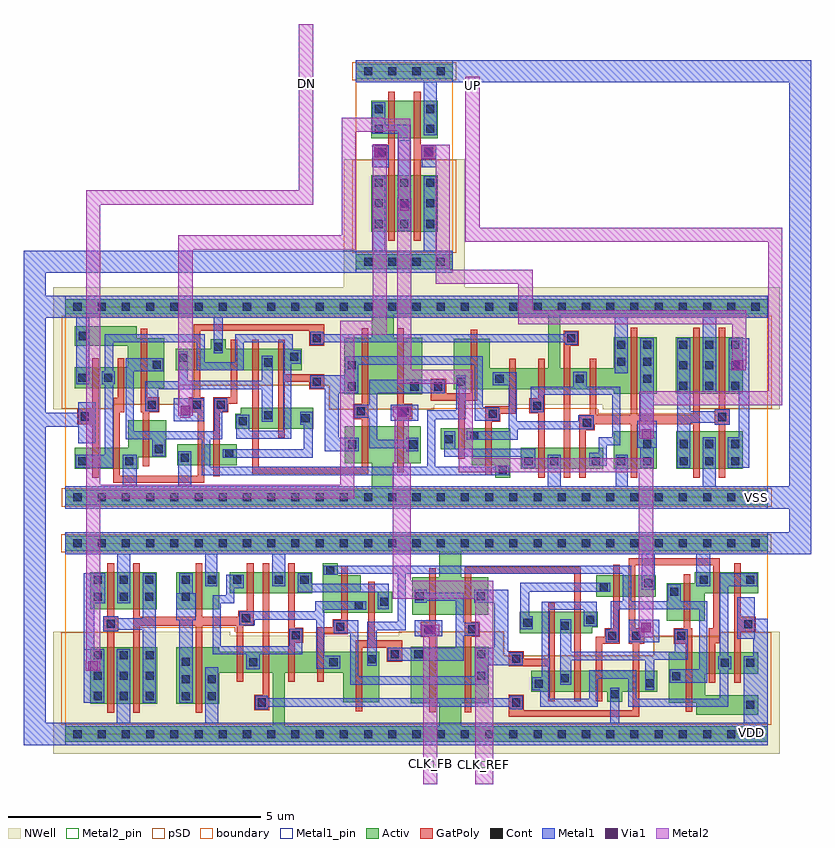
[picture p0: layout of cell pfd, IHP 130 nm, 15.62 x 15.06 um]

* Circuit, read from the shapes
.subckt pfd CLK_FB CLK_REF DN UP VDD VSS
XM1 n1 VDD n2 VSS sg13_lv_nmos w=0.42u l=0.13u
XM2 VSS n3 DN VSS sg13_lv_nmos w=0.74u l=0.13u
XM3 VSS sg13cmos5l_dfrbp_1_10/RESET_B n1 VSS sg13_lv_nmos w=0.42u l=0.13u
XM4 n3 n4 VSS VSS sg13_lv_nmos w=0.74u l=0.13u
XM5 n5 n6 VSS VSS sg13_lv_nmos w=0.74u l=0.13u
XM6 VSS n4 sg13cmos5l_dfrbp_1_12/Q_N VSS sg13_lv_nmos w=0.74u l=0.13u
XM7 n7 sg13cmos5l_dfrbp_1_10/RESET_B VSS VSS sg13_lv_nmos w=0.42u l=0.13u
XM8 n8 n5 n7 VSS sg13_lv_nmos w=0.42u l=0.13u
XM9 n9 n4 n10 VSS sg13_lv_nmos w=0.42u l=0.13u
XM10 n6 n11 n2 VSS sg13_lv_nmos w=0.42u l=0.13u
XM11 VSS sg13cmos5l_dfrbp_1_10/RESET_B n9 VSS sg13_lv_nmos w=0.42u l=0.13u
XM12 n8 n12 n6 VSS sg13_lv_nmos w=0.42u l=0.13u
XM13 n13 n10 VSS VSS sg13_lv_nmos w=0.42u l=0.13u
XM14 n4 n14 n15 VSS sg13_lv_nmos w=0.74u l=0.13u
XM15 VSS n11 n12 VSS sg13_lv_nmos w=0.74u l=0.13u
XM16 n13 n16 n4 VSS sg13_lv_nmos w=0.42u l=0.13u
XM17 n17 DN sg13cmos5l_dfrbp_1_10/RESET_B VSS sg13_lv_nmos w=0.74u l=0.13u
XM18 n11 CLK_REF VSS VSS sg13_lv_nmos w=0.74u l=0.13u
XM19 VSS sg13cmos5l_nand2_1_11/B n17 VSS sg13_lv_nmos w=0.74u l=0.13u
XM20 VSS CLK_FB n16 VSS sg13_lv_nmos w=0.74u l=0.13u
XM21 n18 n11 n19 VSS sg13_lv_nmos w=0.42u l=0.13u
XM22 n14 n16 VSS VSS sg13_lv_nmos w=0.74u l=0.13u
XM23 n5 n12 n18 VSS sg13_lv_nmos w=0.74u l=0.13u
XM24 VSS n20 n19 VSS sg13_lv_nmos w=0.42u l=0.13u
XM25 n21 n14 n22 VSS sg13_lv_nmos w=0.42u l=0.13u
XM26 n23 sg13cmos5l_dfrbp_1_10/RESET_B VSS VSS sg13_lv_nmos w=0.42u l=0.13u
XM27 n24 n16 n21 VSS sg13_lv_nmos w=0.42u l=0.13u
XM28 n20 n18 n23 VSS sg13_lv_nmos w=0.42u l=0.13u
XM29 n25 n15 n22 VSS sg13_lv_nmos w=0.42u l=0.13u
XM30 VSS sg13cmos5l_dfrbp_1_10/RESET_B n25 VSS sg13_lv_nmos w=0.42u l=0.13u
XM31 UP n18 VSS VSS sg13_lv_nmos w=0.74u l=0.13u
XM32 VSS n21 n15 VSS sg13_lv_nmos w=0.74u l=0.13u
XM33 VSS n18 n26 VSS sg13_lv_nmos w=0.74u l=0.13u
XM34 n27 sg13cmos5l_dfrbp_1_10/RESET_B VSS VSS sg13_lv_nmos w=0.42u l=0.13u
XM35 sg13cmos5l_nand2_1_11/B n26 VSS VSS sg13_lv_nmos w=0.74u l=0.13u
XM36 n24 VDD n27 VSS sg13_lv_nmos w=0.42u l=0.13u
XM37 n2 VDD VDD VDD sg13_lv_pmos w=0.42u l=0.13u
XM38 VDD n3 DN VDD sg13_lv_pmos w=1.12u l=0.13u
XM39 VDD sg13cmos5l_dfrbp_1_10/RESET_B n2 VDD sg13_lv_pmos w=0.42u l=0.13u
XM40 n3 n4 VDD VDD sg13_lv_pmos w=1.12u l=0.13u
XM41 n5 n6 VDD VDD sg13_lv_pmos w=1u l=0.13u
XM42 VDD sg13cmos5l_dfrbp_1_10/RESET_B n6 VDD sg13_lv_pmos w=0.42u l=0.13u
XM43 VDD n4 sg13cmos5l_dfrbp_1_12/Q_N VDD sg13_lv_pmos w=1.12u l=0.13u
XM44 n28 n5 VDD VDD sg13_lv_pmos w=0.42u l=0.13u
XM45 n10 n4 VDD VDD sg13_lv_pmos w=0.42u l=0.13u
XM46 n6 n11 n28 VDD sg13_lv_pmos w=0.42u l=0.13u
XM47 VDD sg13cmos5l_dfrbp_1_10/RESET_B n10 VDD sg13_lv_pmos w=0.42u l=0.13u
XM48 n2 n12 n6 VDD sg13_lv_pmos w=0.42u l=0.13u
XM49 n29 n10 VDD VDD sg13_lv_pmos w=0.42u l=0.13u
XM50 n4 n14 n29 VDD sg13_lv_pmos w=0.42u l=0.13u
XM51 n15 n16 n4 VDD sg13_lv_pmos w=1u l=0.13u
XM52 VDD n11 n12 VDD sg13_lv_pmos w=1.12u l=0.13u
XM53 sg13cmos5l_dfrbp_1_10/RESET_B DN VDD VDD sg13_lv_pmos w=1.12u l=0.13u
XM54 n11 CLK_REF VDD VDD sg13_lv_pmos w=1.12u l=0.13u
XM55 VDD sg13cmos5l_nand2_1_11/B sg13cmos5l_dfrbp_1_10/RESET_B VDD sg13_lv_pmos w=1.12u l=0.13u
XM56 VDD CLK_FB n16 VDD sg13_lv_pmos w=1.12u l=0.13u
XM57 n14 n16 VDD VDD sg13_lv_pmos w=1.12u l=0.13u
XM58 n18 n11 n5 VDD sg13_lv_pmos w=1u l=0.13u
XM59 n30 n12 n18 VDD sg13_lv_pmos w=0.42u l=0.13u
XM60 VDD n20 n30 VDD sg13_lv_pmos w=0.42u l=0.13u
XM61 n21 n14 n24 VDD sg13_lv_pmos w=0.42u l=0.13u
XM62 n20 sg13cmos5l_dfrbp_1_10/RESET_B VDD VDD sg13_lv_pmos w=0.42u l=0.13u
XM63 n31 n16 n21 VDD sg13_lv_pmos w=0.42u l=0.13u
XM64 VDD n18 n20 VDD sg13_lv_pmos w=0.42u l=0.13u
XM65 VDD n15 n31 VDD sg13_lv_pmos w=0.42u l=0.13u
XM66 UP n18 VDD VDD sg13_lv_pmos w=1.12u l=0.13u
XM67 n21 sg13cmos5l_dfrbp_1_10/RESET_B VDD VDD sg13_lv_pmos w=0.42u l=0.13u
XM68 VDD n21 n15 VDD sg13_lv_pmos w=1u l=0.13u
XM69 VDD n18 n26 VDD sg13_lv_pmos w=1.12u l=0.13u
XM70 n24 sg13cmos5l_dfrbp_1_10/RESET_B VDD VDD sg13_lv_pmos w=0.42u l=0.13u
XM71 sg13cmos5l_nand2_1_11/B n26 VDD VDD sg13_lv_pmos w=1.12u l=0.13u
XM72 VDD VDD n24 VDD sg13_lv_pmos w=0.42u l=0.13u
.ends

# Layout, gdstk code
from math import pi, radians
import gdstk
lib = gdstk.Library(unit=1e-6, precision=1e-09)
def R(c, l, rs):  # rectangles x0, y0, x1, y1
    for r in rs: c.add(gdstk.rectangle(r[:2], r[2:], *l))
def A(c, l, x, y, w, h, nx, ny, dx, dy):  # array of equal rectangles
    R(c, l, [(x+i*dx, y+j*dy, x+i*dx+w, y+j*dy+h) for i in range(nx) for j in range(ny)])
def P(c, l, *ps):  # polygons
    for p in ps: c.add(gdstk.Polygon(p, *l))
Activ = (1, 0)
GatPoly = (5, 0)
Cont = (6, 0)
Metal1 = (8, 0)
Metal1_pin = (8, 2)
Metal2 = (10, 0)
Metal2_pin = (10, 2)
pSD = (14, 0)
Via1 = (19, 0)
NWell = (31, 0)
boundary = (189, 4)

via = lib.new_cell('Via')
R(via, Metal1, [(-0.145,-0.105,0.145,0.105)])
R(via, Metal2, [(-0.145,-0.1,0.145,0.1)])
R(via, Via1, [(-0.095,-0.095,0.095,0.095)])

sg13cmos5l_dfrbp_1 = lib.new_cell('sg13cmos5l_dfrbp_1')
R(sg13cmos5l_dfrbp_1, Activ, [(9.03,0.57,10.66,0.99), (10.87,0.57,11.725,1.31), (12.105,0.57,13.425,1.31), (2.215,0.635,3.4,1.055), (12.1,2.06,13.425,3.18), (0,3.63,13.92,3.93)])
P(sg13cmos5l_dfrbp_1, Activ, [(0,-0.15),(0,0.15),(6.075,0.15),(6.075,0.675),(5.535,0.675),(5.535,1.415),(7.045,1.415),(7.045,0.675),(6.505,0.675),(6.505,0.15),(13.92,0.15),(13.92,-0.15)],
  [(10.87,2.06),(10.87,2.145),(7.695,2.145),(7.695,3.145),(8.415,3.145),(8.415,2.565),(9.57,2.565),(9.57,3.63),(9.81,3.63),(9.81,2.565),(10.87,2.565),(10.87,3.18),(11.725,3.18),(11.725,2.06)],
  [(8.52,0.39),(8.52,0.635),(8.06,0.635),(8.06,0.955),(7.445,0.955),(7.445,1.375),(8.82,1.375),(8.82,0.39)],
  [(5.53,2.05),(5.53,3.17),(6.075,3.17),(6.075,3.63),(6.505,3.63),(6.505,3.17),(7.07,3.17),(7.07,2.05)],
  [(3.365,1.36),(3.365,1.66),(3.475,1.66),(3.475,1.78),(4.91,1.78),(4.91,1.36)],
  [(2.19,2.525),(2.19,2.945),(2.88,2.945),(2.88,3.14),(3.18,3.14),(3.18,2.945),(4.685,2.945),(4.685,2.525)],
  [(0.19,0.57),(0.19,0.99),(1.245,0.99),(1.245,1.535),(2,1.535),(2,0.795),(1.445,0.795),(1.445,0.57)],
  [(0.19,2.16),(0.19,2.58),(1.24,2.58),(1.24,3.01),(0.19,3.01),(0.19,3.395),(1.415,3.395),(1.415,3.16),(1.96,3.16),(1.96,2.16)])
R(sg13cmos5l_dfrbp_1, GatPoly, [(12.955,0.39,13.085,3.36), (12.87,1.445,13.17,1.745)])
P(sg13cmos5l_dfrbp_1, GatPoly, [(9.88,0.39),(9.88,3.305),(10.18,3.305),(10.18,3.005),(10.01,3.005),(10.01,0.39)],
  [(3.705,0.465),(3.705,3.125),(3.835,3.125),(3.835,0.605),(5.875,0.605),(5.875,1.555),(5.705,1.555),(5.705,1.855),(5.875,1.855),(5.875,3.35),(6.005,3.35),(6.005,0.465)],
  [(0.53,0.39),(0.53,1.455),(0.235,1.455),(0.235,1.755),(0.53,1.755),(0.53,2.76),(0.66,2.76),(0.66,0.39)],
  [(10.19,0.39),(10.19,1.635),(10.39,1.635),(10.39,2.745),(10.52,2.745),(10.52,1.635),(11.21,1.635),(11.21,3.36),(11.34,3.36),(11.34,1.635),(12.445,1.635),(12.445,3.36),(12.575,3.36),(12.575,0.39),(12.445,0.39),(12.445,1.45),(11.34,1.45),(11.34,0.39),(11.21,0.39),(11.21,1.45),(10.49,1.45),(10.49,1.335),(10.32,1.335),(10.32,0.39)],
  [(9.37,0.39),(9.37,1.67),(9.2,1.67),(9.2,1.97),(9.37,1.97),(9.37,2.745),(9.5,2.745),(9.5,0.39)],
  [(7.785,0.765),(7.785,1.92),(7.245,1.92),(7.245,2.35),(7.545,2.35),(7.545,2.07),(8.035,2.07),(8.035,3.325),(8.165,3.325),(8.165,1.92),(7.915,1.92),(7.915,0.765)],
  [(6.575,0.495),(6.575,3.35),(6.705,3.35),(6.705,1.855),(6.875,1.855),(6.875,1.555),(6.705,1.555),(6.705,0.495)],
  [(4.215,1.18),(4.215,3.125),(4.345,3.125),(4.345,2.44),(5.135,2.44),(5.135,2.14),(4.835,2.14),(4.835,2.29),(4.345,2.29),(4.345,1.18)],
  [(2.93,0.425),(2.93,1.985),(3.275,1.985),(3.275,3.125),(3.405,3.125),(3.405,1.855),(3.23,1.855),(3.23,1.685),(3.06,1.685),(3.06,0.425)],
  [(0.95,0.295),(0.95,1.98),(1.04,1.98),(1.04,2.76),(1.17,2.76),(1.17,1.685),(1.08,1.685),(1.08,0.43),(2.62,0.43),(2.62,1.685),(2.45,1.685),(2.45,1.985),(2.54,1.985),(2.54,3.435),(5.135,3.435),(5.135,3.005),(4.835,3.005),(4.835,3.305),(2.67,3.305),(2.67,1.985),(2.75,1.985),(2.75,0.295)],
  [(1.53,0.615),(1.53,1.685),(1.49,1.685),(1.49,3.34),(1.62,3.34),(1.62,1.985),(1.865,1.985),(1.865,1.685),(1.66,1.685),(1.66,0.615)],
  [(8.32,0.445),(8.32,1.805),(8.795,1.805),(8.795,2.745),(8.925,2.745),(8.925,1.66),(8.62,1.66),(8.62,1.505),(8.45,1.505),(8.45,0.445)])
A(sg13cmos5l_dfrbp_1, Cont, 0.16, -0.08, 0.16, 0.16, 29, 2, 0.48, 3.78)
A(sg13cmos5l_dfrbp_1, Cont, 10.43, 0.64, 0.16, 0.16, 3, 1, 0.51, 0)
A(sg13cmos5l_dfrbp_1, Cont, 12.175, 0.64, 0.16, 0.16, 3, 2, 0.51, 0.34)
A(sg13cmos5l_dfrbp_1, Cont, 12.17, 2.135, 0.16, 0.16, 1, 3, 0, 0.405)
A(sg13cmos5l_dfrbp_1, Cont, 12.685, 2.135, 0.16, 0.16, 1, 3, 0, 0.405)
A(sg13cmos5l_dfrbp_1, Cont, 13.195, 2.135, 0.16, 0.16, 1, 3, 0, 0.405)
A(sg13cmos5l_dfrbp_1, Cont, 11.45, 2.27, 0.16, 0.16, 1, 3, 0, 0.34)
R(sg13cmos5l_dfrbp_1, Cont, [(8.59,0.465,8.75,0.625), (0.26,0.64,0.42,0.8), (1.19,0.64,1.35,0.8), (9.1,0.64,9.26,0.8), (9.61,0.64,9.77,0.8), (2.285,0.705,2.445,0.865), (3.17,0.795,3.33,0.955), (1.77,0.88,1.93,1.04), (5.605,0.97,5.765,1.13), (6.815,0.97,6.975,1.13), (11.45,0.98,11.61,1.14), (7.515,1.075,7.675,1.235), (8.025,1.145,8.185,1.305), (10.26,1.405,10.42,1.565), (3.435,1.43,3.595,1.59), (4.68,1.49,4.84,1.65), (12.94,1.515,13.1,1.675), (0.305,1.525,0.465,1.685), (3.945,1.55,4.105,1.71), (8.39,1.575,8.55,1.735), (5.775,1.625,5.935,1.785), (6.645,1.625,6.805,1.785), (9.27,1.74,9.43,1.9), (1.635,1.755,1.795,1.915), (2.52,1.755,2.68,1.915), (3,1.755,3.16,1.915), (5.6,2.12,5.76,2.28), (6.84,2.12,7,2.28), (7.315,2.12,7.475,2.28), (4.905,2.21,5.065,2.37), (7.765,2.215,7.925,2.375), (8.525,2.275,8.685,2.435), (10.12,2.275,10.28,2.435), (0.26,2.29,0.42,2.45), (0.77,2.29,0.93,2.45), (5.6,2.54,5.76,2.7), (1.73,2.55,1.89,2.71), (3.945,2.595,4.105,2.755), (10.94,2.61,11.1,2.77), (2.26,2.69,2.42,2.85), (4.455,2.705,4.615,2.865), (2.95,2.91,3.11,3.07), (10.94,2.95,11.1,3.11), (4.905,3.075,5.065,3.235), (9.95,3.075,10.11,3.235), (0.265,3.12,0.425,3.28)])
R(sg13cmos5l_dfrbp_1, Metal1, [(0.255,1.07,0.6,1.89), (2.145,1.51,2.75,1.965), (6.45,1.52,6.99,1.84)])
P(sg13cmos5l_dfrbp_1, Metal1, [(10.38,0.625),(10.38,0.885),(10.57,0.885),(10.57,1.19),(10.84,1.19),(10.84,2.035),(9.48,2.035),(9.48,1.69),(9.22,1.69),(9.22,2.195),(10.07,2.195),(10.07,2.495),(10.33,2.495),(10.33,2.195),(11,2.195),(11,1.03),(10.73,1.03),(10.73,0.625)],
  [(12.125,0.59),(12.125,3.155),(12.385,3.155),(12.385,1.71),(12.87,1.71),(12.87,1.745),(13.17,1.745),(13.17,1.445),(12.87,1.445),(12.87,1.485),(12.385,1.485),(12.385,0.59)],
  [(13.125,0.59),(13.125,1.19),(13.35,1.19),(13.35,2.095),(13.145,2.095),(13.145,3.155),(13.56,3.155),(13.56,0.59)],
  [(4.855,3.025),(4.855,3.285),(5.115,3.285),(5.115,3.235),(9.91,3.235),(9.91,3.285),(10.16,3.285),(10.16,3.025),(9.91,3.025),(9.91,3.075),(5.115,3.075),(5.115,3.025)],
  [(6.755,0.92),(6.755,0.98),(6.02,0.98),(6.02,1.575),(5.725,1.575),(5.725,1.835),(6.02,1.835),(6.02,2.33),(7.525,2.33),(7.525,2.07),(6.18,2.07),(6.18,1.14),(6.755,1.14),(6.755,1.18),(6.99,1.18),(6.99,0.92)],
  [(0.21,0.59),(0.21,0.85),(0.785,0.85),(0.785,2.24),(0.72,2.24),(0.72,2.5),(0.785,2.5),(0.785,3.24),(2.765,3.24),(2.765,2.68),(3.365,2.68),(3.365,3.24),(4.505,3.24),(4.505,2.915),(4.665,2.915),(4.665,2.655),(4.48,2.655),(4.48,1.16),(3.385,1.16),(3.385,1.64),(3.645,1.64),(3.645,1.32),(4.32,1.32),(4.32,3.08),(3.535,3.08),(3.535,2.52),(2.605,2.52),(2.605,3.08),(0.95,3.08),(0.95,2.5),(0.98,2.5),(0.98,2.24),(0.95,2.24),(0.95,0.59)],
  [(0,-0.22),(0,0.22),(1.14,0.22),(1.14,0.85),(1.41,0.85),(1.41,0.22),(2.235,0.22),(2.235,0.915),(2.495,0.915),(2.495,0.22),(9.56,0.22),(9.56,0.85),(9.82,0.85),(9.82,0.22),(10.91,0.22),(10.91,0.85),(11.15,0.85),(11.15,0.22),(12.635,0.22),(12.635,1.19),(12.895,1.19),(12.895,0.22),(13.92,0.22),(13.92,-0.22)],
  [(5.145,0.92),(5.145,2.16),(4.855,2.16),(4.855,2.42),(5.55,2.42),(5.55,2.8),(8.275,2.8),(8.275,1.785),(8.6,1.785),(8.6,1.525),(8.115,1.525),(8.115,2.63),(5.81,2.63),(5.81,2.07),(5.42,2.07),(5.42,1.18),(5.815,1.18),(5.815,0.92)],
  [(12.63,2.1),(12.63,3.56),(11.15,3.56),(11.15,2.46),(10.89,2.46),(10.89,3.56),(3.115,3.56),(3.115,2.86),(2.945,2.86),(2.945,3.56),(0.475,3.56),(0.475,2.24),(0.215,2.24),(0.215,3.56),(0,3.56),(0,4),(13.92,4),(13.92,3.56),(12.9,3.56),(12.9,2.1)],
  [(11.4,0.59),(11.4,0.99),(11.34,0.99),(11.34,1.52),(11.4,1.52),(11.4,3.155),(11.66,3.155),(11.66,1.52),(11.725,1.52),(11.725,0.99),(11.66,0.99),(11.66,0.59)],
  [(7.96,1.145),(7.96,1.315),(8.79,1.315),(8.79,2.225),(8.475,2.225),(8.475,2.485),(8.95,2.485),(8.95,1.51),(10.165,1.51),(10.165,1.625),(10.47,1.625),(10.47,1.35),(8.97,1.35),(8.97,1.145)],
  [(9.05,0.59),(9.05,0.805),(7.51,0.805),(7.51,1.31),(7.725,1.31),(7.725,0.965),(9.31,0.965),(9.31,0.59)],
  [(3.12,0.785),(3.12,0.96),(4.725,0.96),(4.725,1.44),(4.66,1.44),(4.66,1.7),(4.905,1.7),(4.905,0.785)],
  [(3.895,1.5),(3.895,2.145),(1.845,2.145),(1.845,1.705),(1.585,1.705),(1.585,2.305),(2.245,2.305),(2.245,2.9),(2.425,2.9),(2.425,2.315),(3.895,2.315),(3.895,2.805),(4.115,2.805),(4.115,1.5)],
  [(2.705,0.44),(2.705,1.15),(1.98,1.15),(1.98,0.815),(1.72,0.815),(1.72,1.15),(1.2,1.15),(1.2,2.76),(1.94,2.76),(1.94,2.5),(1.36,2.5),(1.36,1.31),(2.95,1.31),(2.95,1.965),(3.21,1.965),(3.21,1.705),(3.11,1.705),(3.11,1.15),(2.875,1.15),(2.875,0.605),(7.17,0.605),(7.17,1.725),(7.745,1.725),(7.745,2.425),(7.935,2.425),(7.935,1.555),(7.33,1.555),(7.33,0.605),(8.54,0.605),(8.54,0.625),(8.8,0.625),(8.8,0.44)])
R(sg13cmos5l_dfrbp_1, Metal1_pin, [(0,-0.22,13.92,0.22), (11.34,0.99,11.725,1.52), (0.255,1.07,0.6,1.89), (2.145,1.51,2.75,1.965), (6.45,1.52,6.99,1.84), (13.145,2.095,13.56,3.155), (0,3.56,13.92,4)])
R(sg13cmos5l_dfrbp_1, pSD, [(-0.07,-0.18,14,0.18)])
P(sg13cmos5l_dfrbp_1, pSD, [(10.555,1.66),(10.555,1.76),(7.245,1.76),(7.245,1.75),(5.23,1.75),(5.23,2.225),(2.255,2.225),(2.255,1.835),(0.945,1.835),(0.945,1.76),(-0.07,1.76),(-0.07,3.6),(14,3.6),(14,1.76),(12.56,1.76),(12.56,1.66)])
P(sg13cmos5l_dfrbp_1, NWell, [(5.22,1.74),(5.22,2.215),(2.27,2.215),(2.27,1.85),(0.935,1.85),(0.935,1.75),(-0.24,1.75),(-0.24,4.17),(14.16,4.17),(14.16,1.75),(10.655,1.75),(10.655,1.835),(7.315,1.835),(7.315,1.74)])
R(sg13cmos5l_dfrbp_1, boundary, [(0,0,13.92,3.78)])
sg13cmos5l_dfrbp_1.add(gdstk.Label('CLK', (6.69,1.655), layer=8, texttype=25))
sg13cmos5l_dfrbp_1.add(gdstk.Label('VSS', (6.77,0), layer=8, texttype=25))
sg13cmos5l_dfrbp_1.add(gdstk.Label('D', (0.325,1.53), layer=8, texttype=25))
sg13cmos5l_dfrbp_1.add(gdstk.Label('Q_N', (11.56,1.295), layer=8, texttype=25))
sg13cmos5l_dfrbp_1.add(gdstk.Label('Q', (13.34,2.61), layer=8, texttype=25))
sg13cmos5l_dfrbp_1.add(gdstk.Label('RESET_B', (2.385,1.73), layer=8, texttype=25))
sg13cmos5l_dfrbp_1.add(gdstk.Label('VDD', (2.085,3.79), layer=8, texttype=25))

sg13cmos5l_nand2_1 = lib.new_cell('sg13cmos5l_nand2_1')
R(sg13cmos5l_nand2_1, Activ, [(0,-0.15,1.92,0.15), (0.3,0.59,1.62,1.33), (0.3,2.06,1.62,3.18), (0,3.63,1.92,3.93)])
P(sg13cmos5l_nand2_1, GatPoly, [(0.64,0.41),(0.64,1.455),(0.33,1.455),(0.33,1.755),(0.64,1.755),(0.64,3.36),(0.77,3.36),(0.77,0.41)],
  [(1.15,0.41),(1.15,3.36),(1.28,3.36),(1.28,1.755),(1.56,1.755),(1.56,1.455),(1.28,1.455),(1.28,0.41)])
A(sg13cmos5l_nand2_1, Cont, 0.37, 2.13, 0.16, 0.16, 3, 3, 0.51, 0.41)
R(sg13cmos5l_nand2_1, Cont, [(0.16,-0.08,0.32,0.08), (0.16,-0.08,0.32,0.08), (0.64,-0.08,0.8,0.08), (0.64,-0.08,0.8,0.08), (1.12,-0.08,1.28,0.08), (1.12,-0.08,1.28,0.08), (1.6,-0.08,1.76,0.08), (1.6,-0.08,1.76,0.08), (0.37,0.67,0.53,0.83), (1.39,0.67,1.55,0.83), (0.37,1.065,0.53,1.225), (1.39,1.065,1.55,1.225), (0.4,1.525,0.56,1.685), (1.33,1.525,1.49,1.685), (0.16,3.7,0.32,3.86), (0.16,3.7,0.32,3.86), (0.64,3.7,0.8,3.86), (0.64,3.7,0.8,3.86), (1.12,3.7,1.28,3.86), (1.12,3.7,1.28,3.86), (1.6,3.7,1.76,3.86), (1.6,3.7,1.76,3.86)])
R(sg13cmos5l_nand2_1, Metal1, [(0.33,1.47,0.62,1.9), (1.27,1.47,1.6,1.9)])
P(sg13cmos5l_nand2_1, Metal1, [(0.32,2.08),(0.32,3.56),(0,3.56),(0,4),(1.92,4),(1.92,3.56),(1.6,3.56),(1.6,2.08),(1.34,2.08),(1.34,3.56),(0.58,3.56),(0.58,2.08)],
  [(0,-0.22),(0,0.22),(0.32,0.22),(0.32,1.275),(0.58,1.275),(0.58,0.22),(1.92,0.22),(1.92,-0.22)],
  [(1.34,0.62),(1.34,1.06),(0.83,1.06),(0.83,3.16),(1.09,3.16),(1.09,1.245),(1.6,1.245),(1.6,0.62)])
R(sg13cmos5l_nand2_1, Metal1_pin, [(0,-0.22,1.92,0.22), (0.83,1.365,1.09,3.16), (0.33,1.47,0.62,1.9), (1.27,1.47,1.6,1.9), (0,3.56,1.92,4)])
R(sg13cmos5l_nand2_1, pSD, [(-0.07,-0.18,1.99,0.18), (-0.07,1.76,1.99,3.6)])
R(sg13cmos5l_nand2_1, NWell, [(-0.24,1.75,2.16,4.17)])
R(sg13cmos5l_nand2_1, boundary, [(0,0,1.92,3.78)])
sg13cmos5l_nand2_1.add(gdstk.Label('Y', (0.97,2.21), layer=8, texttype=25))
sg13cmos5l_nand2_1.add(gdstk.Label('VDD', (0.97,3.78), layer=8, texttype=25))
sg13cmos5l_nand2_1.add(gdstk.Label('A', (1.435,1.63), layer=8, texttype=25))
sg13cmos5l_nand2_1.add(gdstk.Label('VSS', (0.99,0), layer=8, texttype=25))
sg13cmos5l_nand2_1.add(gdstk.Label('B', (0.45,1.62), layer=8, texttype=25))

pfd = lib.new_cell('pfd')
R(pfd, Metal1_pin, [(13.545,0.215,13.675,0.345), (13.64,4.86,13.77,4.99)])
R(pfd, Metal2_pin, [(8.23,-0.425,8.36,-0.295), (7.17,-0.42,7.3,-0.29), (8.015,13.04,8.145,13.17), (4.72,13.1,4.85,13.23)])
R(pfd, NWell, [(5.52,8.48,7.92,8.74), (5.52,9.08,7.92,9.21)])
pfd.add(gdstk.FlexPath([(13.92,4.93),(14.57,4.93),(14.57,13.38),(7.68,13.38)], 0.44, ends="flush", simple_path=True, layer=8, datatype=0))  # Metal1
pfd.add(gdstk.FlexPath([(0.51,6.47),(-0.415,6.47)], 0.28, ends="flush", simple_path=True, layer=8, datatype=0))  # Metal1
pfd.add(gdstk.FlexPath([(0,0.24),(-0.61,0.24),(-0.61,8.71),(0,8.71)], 0.44, ends="flush", simple_path=True, layer=8, datatype=0))  # Metal1
pfd.add(gdstk.FlexPath([(13.92,4.02),(14.57,4.02),(14.57,4.93)], 0.44, ends="flush", simple_path=True, layer=8, datatype=0))  # Metal1
pfd.add(gdstk.FlexPath([(5.76,9.6),(-0.61,9.6),(-0.61,8.3)], 0.44, ends="flush", simple_path=True, layer=8, datatype=0))  # Metal1
pfd.add(gdstk.FlexPath([(13.665,2.39),(13.78,2.39),(13.78,0.02)], 0.28, ends="flush", simple_path=True, layer=8, datatype=0))  # Metal1
pfd.add(gdstk.FlexPath([(0.55,2.14),(0.55,1.49)], 0.28, ends="flush", simple_path=True, layer=10, datatype=0))  # Metal2
pfd.add(gdstk.FlexPath([(6.34,12.315),(6.72,12.315),(6.72,10.58)], 0.24, ends="flush", simple_path=True, layer=10, datatype=0))  # Metal2
pfd.add(gdstk.FlexPath([(0.55,5.765),(0.55,5.365)], 0.28, ends="flush", simple_path=True, layer=10, datatype=0))  # Metal2
pfd.add(gdstk.FlexPath([(6.67,6.725),(6.67,6.525)], 0.36, ends="flush", simple_path=True, layer=10, datatype=0))  # Metal2
pfd.add(gdstk.FlexPath([(13.485,8.505),(9.12,8.505),(9.12,9.305),(7.48,9.305),(7.48,11.785),(7.055,11.785)], 0.28, ends="flush", simple_path=True, layer=10, datatype=0))  # Metal2
pfd.add(gdstk.FlexPath([(0.55,6.735),(0.55,10.875),(4.77,10.875),(4.77,14.315),(4.77,14.315)], 0.28, ends="flush", simple_path=True, layer=10, datatype=0))  # Metal2
pfd.add(gdstk.FlexPath([(2.38,7.325),(2.38,9.985),(5.62,9.985),(5.62,12.315),(6.34,12.315)], 0.28, ends="flush", simple_path=True, layer=10, datatype=0))  # Metal2
pfd.add(gdstk.FlexPath([(6.23,11.495),(6.23,11.935)], 0.28, ends="flush", simple_path=True, layer=10, datatype=0))  # Metal2
pfd.add(gdstk.FlexPath([(6.72,9.37),(6.72,9.81)], 0.28, ends="flush", simple_path=True, layer=10, datatype=0))  # Metal2
pfd.add(gdstk.FlexPath([(11.51,3.365),(11.51,5.57),(7.935,5.57),(7.935,7.32),(6.72,7.32),(6.72,10.005)], 0.28, ends="flush", simple_path=True, layer=10, datatype=0))  # Metal2
pfd.add(gdstk.FlexPath([(11.51,2.97),(11.51,2.16)], 0.28, ends="flush", simple_path=True, layer=10, datatype=0))  # Metal2
pfd.add(gdstk.FlexPath([(0.55,5.765),(0.55,6.375),(0.55,6.375)], 0.28, ends="flush", simple_path=True, layer=10, datatype=0))  # Metal2
pfd.add(gdstk.FlexPath([(0.55,5.365),(0.55,4.435)], 0.28, ends="flush", simple_path=True, layer=10, datatype=0))  # Metal2
pfd.add(gdstk.FlexPath([(6.67,6.09),(6.67,6.73)], 0.28, ends="flush", simple_path=True, layer=10, datatype=0))  # Metal2
pfd.add(gdstk.FlexPath([(6.72,10.085),(6.72,10.86)], 0.28, ends="flush", simple_path=True, layer=10, datatype=0))  # Metal2
pfd.add(gdstk.FlexPath([(6.23,11.045),(6.23,11.51)], 0.28, ends="flush", simple_path=True, layer=10, datatype=0))  # Metal2
pfd.add(gdstk.FlexPath([(13.355,7.555),(13.355,8.645)], 0.28, ends="flush", simple_path=True, layer=10, datatype=0))  # Metal2
pfd.add(gdstk.FlexPath([(0.55,2.09),(0.55,5.045),(5.59,5.045),(5.59,8.295),(6.23,8.295),(6.23,10.66)], 0.28, ends="flush", simple_path=True, layer=10, datatype=0))  # Metal2
pfd.add(gdstk.FlexPath([(11.52,6.64),(11.52,6.1),(11.52,6.1)], 0.28, ends="flush", simple_path=True, layer=10, datatype=0))  # Metal2
pfd.add(gdstk.FlexPath([(11.52,6.295),(11.52,6.895),(14.07,6.895),(14.07,10.135),(14.07,10.135),(8.07,10.135),(8.07,13.265)], 0.28, ends="flush", simple_path=True, layer=10, datatype=0))  # Metal2
pfd.add(gdstk.FlexPath([(2.38,7.325),(2.38,6.55)], 0.28, ends="flush", simple_path=True, layer=10, datatype=0))  # Metal2
pfd.add(gdstk.FlexPath([(0.55,6.375),(0.55,6.735)], 0.28, ends="flush", simple_path=True, layer=10, datatype=0))  # Metal2
pfd.add(gdstk.FlexPath([(6.67,6.09),(6.67,5.55)], 0.28, ends="flush", simple_path=True, layer=10, datatype=0))  # Metal2
pfd.add(gdstk.FlexPath([(6.23,11.045),(6.23,10.66)], 0.28, ends="flush", simple_path=True, layer=10, datatype=0))  # Metal2
pfd.add(gdstk.FlexPath([(6.72,10.085),(6.72,9.81)], 0.28, ends="flush", simple_path=True, layer=10, datatype=0))  # Metal2
pfd.add(gdstk.FlexPath([(11.51,2.97),(11.51,3.365)], 0.28, ends="flush", simple_path=True, layer=10, datatype=0))  # Metal2
pfd.add(gdstk.FlexPath([(7.23,2.21),(7.23,-0.75)], 0.28, ends="flush", simple_path=True, layer=10, datatype=0))  # Metal2
pfd.add(gdstk.FlexPath([(7.23,2.41),(7.23,2.19)], 0.36, ends="flush", simple_path=True, layer=10, datatype=0))  # Metal2
pfd.add(gdstk.FlexPath([(6.67,5.615),(6.67,3.1),(8.3,3.1),(8.3,-0.75),(8.3,-0.75)], 0.36, ends="flush", simple_path=True, layer=10, datatype=0))  # Metal2
pfd.add(gdstk.FlexPath([(2.38,6.895),(2.38,6.55)], 0.28, ends="flush", simple_path=True, layer=10, datatype=2))  # Metal2_pin
pfd.add(gdstk.Reference(via, (6.67,6.62), rotation=pi))
pfd.add(gdstk.Reference(via, (7.23,2.31), rotation=pi))
pfd.add(gdstk.Reference(via, (13.34,7.55), rotation=pi))
pfd.add(gdstk.Reference(via, (7.2,11.78), rotation=pi))
pfd.add(gdstk.Reference(via, (0.55,1.59), rotation=pi))
pfd.add(gdstk.Reference(via, (6.23,11.77), rotation=pi))
pfd.add(gdstk.Reference(via, (11.51,2.35), rotation=pi))
pfd.add(gdstk.Reference(via, (2.38,6.65), rotation=pi/2))
pfd.add(gdstk.Reference(via, (6.72,10.71), rotation=pi/2))
pfd.add(gdstk.Reference(via, (11.52,6.19), rotation=pi))
pfd.add(gdstk.Reference(sg13cmos5l_dfrbp_1, (0,4.93)))
pfd.add(gdstk.Reference(sg13cmos5l_nand2_1, (7.68,13.38), rotation=pi))
pfd.add(gdstk.Reference(sg13cmos5l_dfrbp_1, (13.92,4.02), rotation=pi))
pfd.add(gdstk.Label('VSS', (13.69,4.92), layer=8, texttype=25))
pfd.add(gdstk.Label('VDD', (13.61,0.28), layer=8, texttype=25))
pfd.add(gdstk.Label('UP', (8.08,13.09), layer=10, texttype=25))
pfd.add(gdstk.Label('DN', (4.77,13.14), layer=10, texttype=25))
pfd.add(gdstk.Label('CLK_REF', (8.29,-0.36), layer=10, texttype=25))
pfd.add(gdstk.Label('CLK_FB', (7.23,-0.35), layer=10, texttype=25))

lib.write_gds('pfd.gds')
